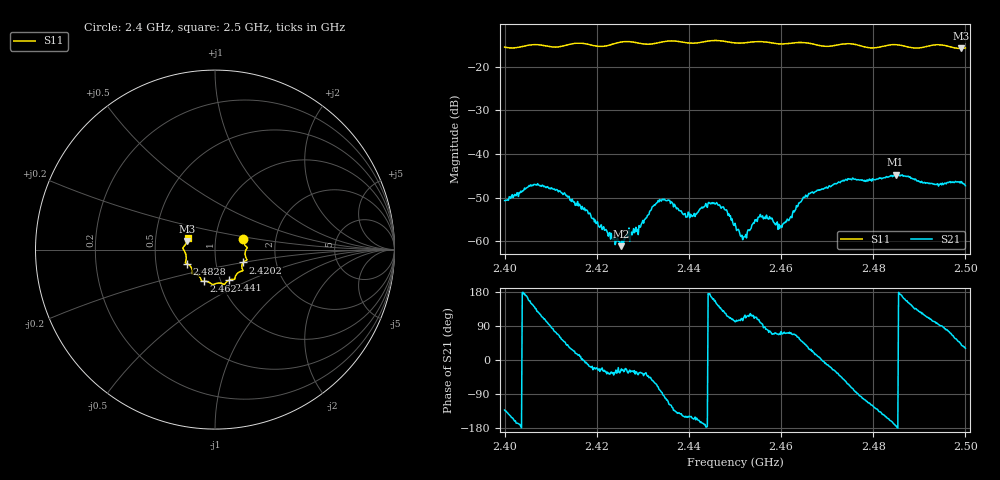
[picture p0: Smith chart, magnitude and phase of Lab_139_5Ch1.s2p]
# Hz S RI R 50
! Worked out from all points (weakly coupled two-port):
!   601 points, 2.4 GHz to 2.5 GHz, reference 50 ohm
!   highest |S21| = -44.70 dB at 2.4848 GHz (marker M1); lowest = -61.2 dB at 2.4253 GHz (marker M2)
!   lowest |S11| = -15.8 dB at 2.499 GHz (marker M3), VSWR 1.39, Z = 36.4 + j3.6 ohm
!   |S11| at or under -10 dB: start of sweep to end of sweep
!   S12 and S22 are empty: the file has one direction only
!   S11 on the Smith chart (normalised r, x): 2.4 GHz: 1.36, +0.17; 2.4202 GHz: 1.36, -0.20; 2.441 GHz: 1.10, -0.39; 2.462 GHz: 0.83, -0.30; 2.4828 GHz: 0.72, -0.12; 2.5 GHz: 0.73, +0.09
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2.4e9  0.157 0.061  -0.00196 -0.00217  0 0  0 0
2.406833e9  0.1799 0.011  -0.00316 0.00314  0 0  0 0
2.416667e9  0.1774 -0.059  0.00232 9.82e-05  0 0  0 0
2.420167e9  0.1569 -0.0719  0.00152 -0.000693  0 0  0 0
2.425333e9  0.1558 -0.1142  0.000804 -0.000348  0 0  0 0
2.429167e9  0.1426 -0.1212  0.00125 -0.000838  0 0  0 0
2.433333e9  0.1125 -0.1519  0.000953 -0.00277  0 0  0 0
2.441e9  0.0773 -0.1704  -0.00181 -0.00081  0 0  0 0
2.445667e9  0.0521 -0.1942  -0.00245 0.00104  0 0  0 0
2.447833e9  0.0442 -0.1913  -0.00126 0.00192  0 0  0 0
2.45e9  0.027 -0.1866  -0.000306 0.00157  0 0  0 0
2.452e9  0.00745 -0.1887  -0.000468 0.00102  0 0  0 0
2.4555e9  -0.0129 -0.1951  -0.000299 0.00201  0 0  0 0
2.459833e9  -0.0411 -0.179  0.000571 0.00137  0 0  0 0
2.462e9  -0.0614 -0.176  0.000651 0.00176  0 0  0 0
2.466667e9  -0.0773 -0.1674  0.00333 0.00141  0 0  0 0
2.4745e9  -0.126 -0.1351  0.00233 -0.00466  0 0  0 0
2.482833e9  -0.1579 -0.0778  -0.00477 -0.00274  0 0  0 0
2.483333e9  -0.1607 -0.0766  -0.00495 -0.00232  0 0  0 0
2.484833e9  -0.1645 -0.0728  -0.00578 -0.00066  0 0  0 0
2.499e9  -0.1555 0.0482  0.00353 0.00329  0 0  0 0
2.5e9  -0.1531 0.0619  0.00372 0.0022  0 0  0 0
